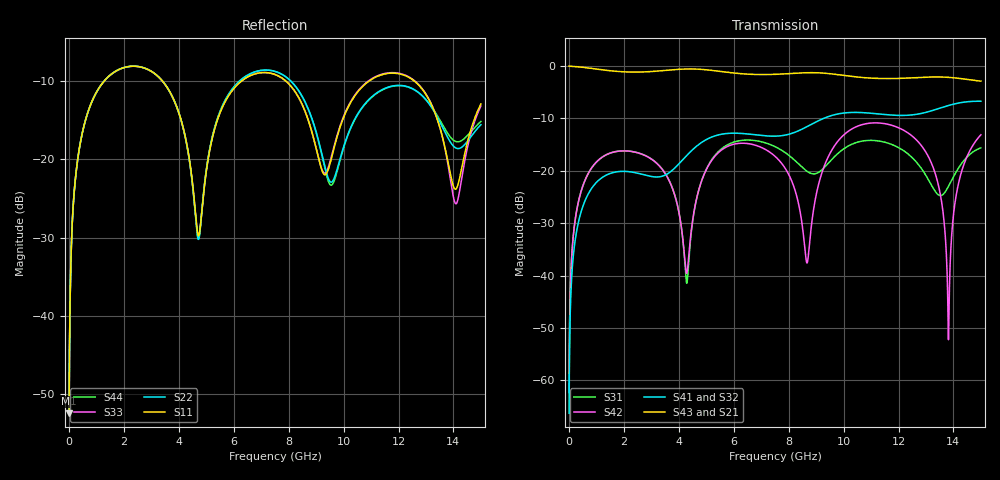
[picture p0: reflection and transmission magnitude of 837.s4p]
! Created with skrf 1.8.0 (http://scikit-rf.org).
# GHz S RI R 50.0
!freq ReS11 ImS11 ReS12 ImS12 ReS13 ImS13
! ReS14 ImS14
! ReS21 ImS21 ReS22 ImS22 ReS23 ImS23
! ReS24 ImS24
! ReS31 ImS31 ReS32 ImS32 ReS33 ImS33
! ReS34 ImS34
! ReS41 ImS41 ReS42 ImS42 ReS43 ImS43
! ReS44 ImS44
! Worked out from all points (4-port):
!   2499 points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, 5 MHz to 15 GHz, reference 50 ohm
!   strongest paths, dB at 5 MHz, 3.476 GHz, 7.19 GHz, 11.1 GHz, 15 GHz:
!     S43: 0.0, -0.8, -1.6, -2.3, -2.9
!     S21: 0.0, -0.8, -1.6, -2.3, -2.9
!     S41: -66.3, -20.9, -13.3, -9.1, -6.7
!     S32: -66.3, -20.9, -13.3, -9.1, -6.7
!     S42: -62.4, -20.3, -16.0, -10.8, -13.1
!     S31: -62.4, -20.3, -14.7, -14.2, -15.6
!   lowest |S11| = -52.4 dB at 5 MHz (marker M1), VSWR 1.00, Z = 50.2 + j0.145 ohm
!   |S11| at or under -10 dB: 3.404 GHz to 6.284 GHz (2.88 GHz wide, 59.5 % of centre); 7.898 GHz to 10.93 GHz (3.033 GHz wide, 32.2 % of centre); 12.57 GHz to end of sweep (the widest 3 of 4)
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0.005  0.0019 0.00144  0.9981 -0.0037  9.64e-05 0.000756  -9.36e-05 -0.000474
       0.9981 -0.0037  0.0019 0.00144  -9.36e-05 -0.000474  9.64e-05 0.000756
       9.64e-05 0.000756  -9.36e-05 -0.000474  0.0019 0.00144  0.9981 -0.0037
       -9.36e-05 -0.000474  9.64e-05 0.000756  0.9981 -0.0037  0.0019 0.00144
1.369321  0.278 0.1752  0.5329 -0.7382  0.1303 0.0587  -0.0912 -0.00362
          0.5329 -0.7382  0.2781 0.1751  -0.0912 -0.00364  0.1299 0.0593
          0.1303 0.0587  -0.0912 -0.00364  0.2779 0.1751  0.5329 -0.7382
          -0.0912 -0.00362  0.1299 0.0593  0.5329 -0.7382  0.278 0.1751
4.289287  0.0619 -0.109  -0.875 -0.3387  -0.00836 -0.00109  -0.0465 0.1322
          -0.875 -0.3387  0.0606 -0.1092  -0.0468 0.1321  -0.0104 -0.00127
          -0.00836 -0.00109  -0.0468 0.1321  0.0613 -0.1081  -0.8752 -0.3386
          -0.0465 0.1322  -0.0104 -0.00127  -0.8752 -0.3386  0.0603 -0.1081
7.240517  0.3566 -0.0206  -0.0337 0.8294  0.1466 -0.1073  0.2073 -0.0568
          -0.0337 0.8294  0.3704 -0.026  0.2074 -0.0562  0.1465 -0.0506
          0.1466 -0.1073  0.2074 -0.0562  0.3566 -0.0194  -0.0347 0.8294
          0.2073 -0.0568  0.1465 -0.0506  -0.0347 0.8294  0.3702 -0.0262
12.44268  0.3046 -0.1226  -0.1002 -0.7648  0.1054 -0.0889  -0.3244 0.1044
          -0.1002 -0.7648  0.28 -0.0588  -0.3236 0.1004  0.1338 -0.1752
          0.1054 -0.0889  -0.3236 0.1004  0.3042 -0.1301  -0.0956 -0.7652
          -0.3244 0.1044  0.1338 -0.1752  -0.0956 -0.7652  0.2814 -0.0474
13.81826  0.0725 -0.0585  -0.6833 -0.378  -0.0653 0.0276  -0.1928 0.3734
          -0.6833 -0.378  0.1246 -0.0527  -0.1983 0.3712  -0.00238 0.000529
          -0.0653 0.0276  -0.1983 0.3712  0.0615 -0.0645  -0.6796 -0.3839
          -0.1928 0.3734  -0.00238 0.000529  -0.6796 -0.3839  0.1366 -0.046
15  0.1779 0.1387  -0.6897 0.1979  0.0704 0.15  0.1766 0.4264
    -0.6897 0.1979  0.1597 0.0467  0.1731 0.4299  0.2106 0.0663
    0.0704 0.15  0.1731 0.4299  0.165 0.1438  -0.6922 0.1898
    0.1766 0.4264  0.2106 0.0663  -0.6922 0.1898  0.1689 0.0441
